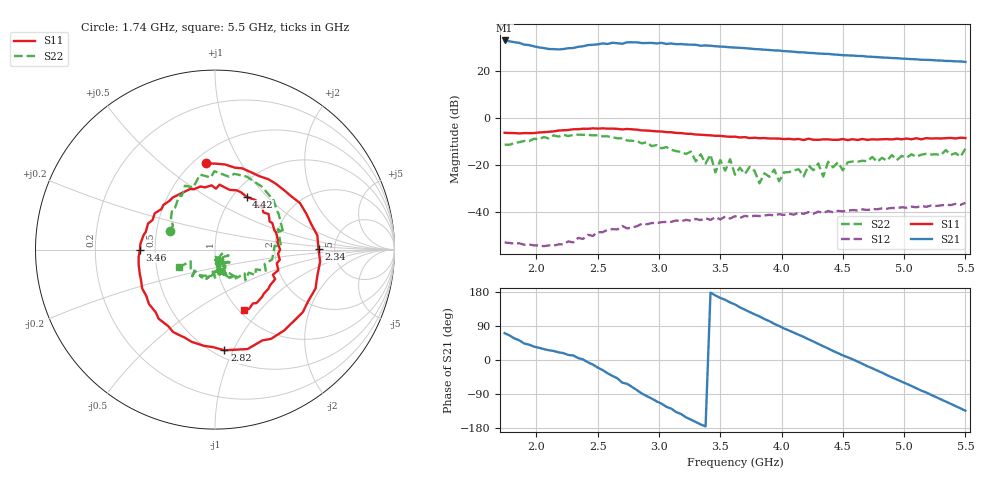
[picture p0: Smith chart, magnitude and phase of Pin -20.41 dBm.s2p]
! RsaToolbox (C) 2015 Rohde & Schwarz America
! Number of points: 94
! Number of ports: 2
! Balanced ports?: No
# Hz S RI R 50
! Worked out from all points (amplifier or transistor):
!   94 points, 1.74 GHz to 5.5 GHz, reference 50 ohm
!   highest |S21| = 32.9 dB at 1.74 GHz (marker M1)
!   |S21| within 3 dB of that: 2.315 GHz to 3.613 GHz (1.298 GHz wide, 43.8 % of centre)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
!   unconditionally stable (mu >= 1): start of sweep to end of sweep
!   at 2.34 GHz: K = 3.22, MAG = 32.6 dB, |S12| = -50.9 dB
!   at 3.66 GHz: K = 1.98, MAG = 30.4 dB, |S12| = -42.5 dB
!   at 5.5 GHz: K = 1.74, MAG = 24.9 dB, |S12| = -36.0 dB
!   S11 on the Smith chart (normalised r, x): 1.74 GHz: 0.57, +0.72; 2.34 GHz: 3.72, +0.04; 2.82 GHz: 0.56, -0.93; 3.46 GHz: 0.41, +0.00; 4.42 GHz: 1.15, +0.77; 5.5 GHz: 1.06, -0.83
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1.74e9  -0.0497 0.4809  14.38 41.5  0.000245 -0.00228  -0.249 0.1051
1.86e9  0.1112 0.4565  24.11 30.68  -2.47e-05 -0.00219  -0.2446 0.1827
1.98e9  0.2447 0.4102  26.88 19.15  -0.000574 -0.00189  -0.1984 0.3026
2.18e9  0.4731 0.2595  26.57 9.858  -0.000523 -0.00201  -0.0226 0.4019
2.34e9  0.5767 0.0034  32.09 2.883  -0.00108 -0.00264  0.1764 0.4068
2.38e9  0.5858 -0.0663  33.07 0.8698  -0.000883 -0.00258  0.209 0.3853
2.54e9  0.4892 -0.3482  33.93 -16.99  -0.00227 -0.00302  0.3496 0.2059
2.66e9  0.3114 -0.4976  25.56 -28.62  -0.00356 -0.00244  0.3504 0.1144
2.7e9  0.2643 -0.5057  18.81 -32.29  -0.00442 -0.00258  0.3679 0.0192
2.74e9  0.1818 -0.5539  18.33 -35.79  -0.00421 -0.0017  0.3321 0.0203
2.82e9  0.0526 -0.561  7.316 -39.35  -0.00496 -0.000927  0.3183 -0.0551
3.02e9  -0.2324 -0.4599  -16.53 -35.41  -0.00592 0.00165  0.1876 -0.1282
3.22e9  -0.3823 -0.2591  -31.62 -17.31  -0.00556 0.00409  0.0752 -0.1548
3.46e9  -0.4178 0.000492  -32.65 5.586  -0.00279 0.00734  0.0283 -0.0638
3.62e9  -0.3732 0.1446  -25.9 17.07  -0.000193 0.00825  0.0401 -0.0481
3.9e9  -0.1979 0.3086  -6.009 26.89  0.00436 0.00765  0.0179 -0.0536
4.26e9  0.0752 0.3361  15.6 17.84  0.00882 0.00299  0.0291 -0.0718
4.42e9  0.1755 0.2947  20.32 8.959  0.00999 -2.25e-05  0.0431 -0.0786
4.66e9  0.2986 0.1983  20.21 -3.567  0.0103 -0.00502  0.055 -0.1107
4.9e9  0.3472 0.0411  13.01 -13.33  0.00706 -0.0101  0.00315 -0.1631
5.22e9  0.3065 -0.1991  -0.5882 -16.91  -0.00113 -0.0139  -0.0843 -0.1452
5.5e9  0.1628 -0.3373  -10.66 -11.13  -0.00909 -0.0129  -0.2006 -0.0968
